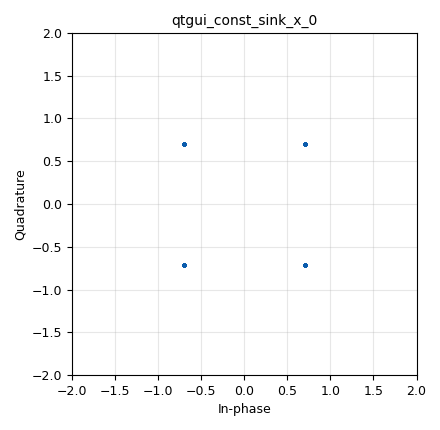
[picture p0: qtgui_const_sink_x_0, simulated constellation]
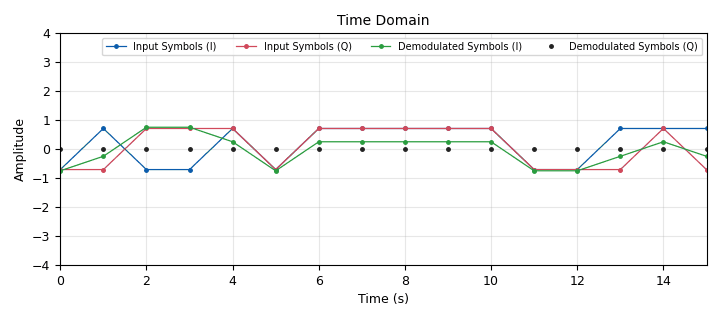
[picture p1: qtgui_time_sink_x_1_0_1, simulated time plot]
<?xml version='1.0' encoding='utf-8'?>
<?grc format='1' created='3.7.12'?>
<flow_graph>
<block>
<key>options</key>
<param><key>id</key><value>top_block</value></param>
<param><key>generate_options</key><value>qt_gui</value></param>
</block>
<block>
<key>variable_constellation</key>
<param><key>id</key><value>constel</value></param>
<param><key>const_points</key><value>digital.psk_2()[0]</value></param>
<param><key>type</key><value>qpsk</value></param>
<param><key>soft_dec_lut</key><value>'auto'</value></param>
<param><key>precision</key><value>8</value></param>
<param><key>sym_map</key><value>digital.psk_2()[1]</value></param>
</block>
<block>
<key>variable</key>
<param><key>id</key><value>corr_sequence</value></param>
<param><key>comment</key><value>Copy this.</value></param>
<param><key>value</key><value>((-0.7071070075035095+0.7071070075035095j), (0.7071070075035095+0.7071070075035095j), (0.7071070075035095-0.7071070075035095j), (0.7071070075035095+0.7071070075035095j), (-0.7071070075035095-0.7071070075035095j), (-0.7071070075035095-0.7071070075035095j), (0.7071070075035095+0.7071070075035095j), (-0.7071070075035095-0.7071070075035095j), (0.7071070075035095+0.7071070075035095j), (-0.7071070075035095-0.7071070075035095j), (0.7071070075035095+0.7071070075035095j), (0.7071070075035095+0.7071070075035095j), (0.7071070075035095+0.7071070075035095j), (-0.7071070075035095+0.7071070075035095j), (0.7071070075035095-0.7071070075035095j), (-0.7071070075035095-0.7071070075035095j))</value></param>
</block>
<block>
<key>variable</key>
<param><key>id</key><value>corr_sequence_nodiff</value></param>
<param><key>comment</key><value>Or this.</value></param>
<param><key>value</key><value>((-0.7071070075035095-0.7071070075035095j), (0.7071070075035095-0.7071070075035095j), (-0.7071070075035095+0.7071070075035095j), (-0.7071070075035095+0.7071070075035095j), (0.7071070075035095+0.7071070075035095j), (-0.7071070075035095-0.7071070075035095j), (0.7071070075035095+0.7071070075035095j), (0.7071070075035095+0.7071070075035095j), (0.7071070075035095+0.7071070075035095j), (0.7071070075035095+0.7071070075035095j), (0.7071070075035095+0.7071070075035095j), (-0.7071070075035095-0.7071070075035095j), (-0.7071070075035095-0.7071070075035095j), (0.7071070075035095-0.7071070075035095j), (0.7071070075035095+0.7071070075035095j), (0.7071070075035095-0.7071070075035095j))</value></param>
</block>
<block>
<key>variable</key>
<param><key>id</key><value>length</value></param>
<param><key>value</key><value>len(sync_word)*8</value></param>
</block>
<block>
<key>variable</key>
<param><key>id</key><value>same</value></param>
<param><key>value</key><value>corr_sequence == corr_sequence_nodiff</value></param>
</block>
<block>
<key>variable</key>
<param><key>id</key><value>samp_rate</value></param>
<param><key>value</key><value>32000</value></param>
</block>
<block>
<key>variable</key>
<param><key>id</key><value>sync_word</value></param>
<param><key>value</key><value>[0x1a, 0xcf, 0xfc, 0x1d]</value></param>
</block>
<block>
<key>variable_function_probe</key>
<param><key>id</key><value>variable_function_probe_0</value></param>
<param><key>block_id</key><value>symbols</value></param>
<param><key>function_name</key><value>level</value></param>
<param><key>value</key><value>0</value></param>
<param><key>poll_rate</key><value>0.25</value></param>
</block>
<block>
<key>variable_function_probe</key>
<param><key>id</key><value>variable_function_probe_0_0</value></param>
<param><key>block_id</key><value>dibits</value></param>
<param><key>function_name</key><value>level</value></param>
<param><key>value</key><value>0</value></param>
<param><key>poll_rate</key><value>0.25</value></param>
</block>
<block>
<key>variable_qtgui_entry</key>
<param><key>id</key><value>variable_qtgui_entry_0</value></param>
<param><key>value</key><value>variable_function_probe_0</value></param>
<param><key>label</key><value>Complex Symbols (Copy this)</value></param>
<param><key>type</key><value>int</value></param>
</block>
<block>
<key>variable_qtgui_entry</key>
<param><key>id</key><value>variable_qtgui_entry_0_0</value></param>
<param><key>value</key><value>variable_function_probe_0_0</value></param>
<param><key>label</key><value>Symbols</value></param>
<param><key>type</key><value>int</value></param>
</block>
<block>
<key>blocks_complex_to_arg</key>
<param><key>id</key><value>blocks_complex_to_arg_0</value></param>
</block>
<block>
<key>blocks_float_to_complex</key>
<param><key>id</key><value>blocks_float_to_complex_0</value></param>
</block>
<block>
<key>blocks_multiply_const_vxx</key>
<param><key>id</key><value>blocks_multiply_const_vxx_0</value></param>
<param><key>const</key><value>1./pi</value></param>
<param><key>type</key><value>float</value></param>
</block>
<block>
<key>blocks_repack_bits_bb</key>
<param><key>id</key><value>blocks_repack_bits_bb_0</value></param>
<param><key>k</key><value>8</value></param>
<param><key>l</key><value>1</value></param>
<param><key>endianness</key><value>gr.GR_MSB_FIRST</value></param>
</block>
<block>
<key>blocks_repack_bits_bb</key>
<param><key>id</key><value>blocks_repack_bits_bb_0_0</value></param>
<param><key>k</key><value>1</value></param>
<param><key>l</key><value>2</value></param>
<param><key>endianness</key><value>gr.GR_MSB_FIRST</value></param>
</block>
<block>
<key>blocks_stream_to_vector</key>
<param><key>id</key><value>blocks_stream_to_vector_0</value></param>
<param><key>type</key><value>complex</value></param>
<param><key>num_items</key><value>length/2</value></param>
</block>
<block>
<key>blocks_stream_to_vector</key>
<param><key>id</key><value>blocks_stream_to_vector_0_1</value></param>
<param><key>type</key><value>byte</value></param>
<param><key>num_items</key><value>length</value></param>
</block>
<block>
<key>blocks_throttle</key>
<param><key>id</key><value>blocks_throttle_1</value></param>
<param><key>_enabled</key><value>2</value></param>
<param><key>samples_per_second</key><value>samp_rate_rx</value></param>
<param><key>type</key><value>complex</value></param>
</block>
<block>
<key>blocks_vector_sink_x</key>
<param><key>id</key><value>blocks_vector_sink_x_0</value></param>
<param><key>type</key><value>complex</value></param>
<param><key>vlen</key><value>length/2</value></param>
</block>
<block>
<key>blocks_vector_sink_x</key>
<param><key>id</key><value>blocks_vector_sink_x_0_0</value></param>
<param><key>type</key><value>byte</value></param>
<param><key>vlen</key><value>length</value></param>
</block>
<block>
<key>blocks_vector_source_x</key>
<param><key>id</key><value>blocks_vector_source_x_1</value></param>
<param><key>type</key><value>byte</value></param>
<param><key>repeat</key><value>True</value></param>
<param><key>vector</key><value>sync_word</value></param>
</block>
<block>
<key>ccsds_diff_encoder</key>
<param><key>id</key><value>ccsds_diff_encoder_0</value></param>
<param><key>_enabled</key><value>2</value></param>
</block>
<block>
<key>blocks_probe_signal_vx</key>
<param><key>id</key><value>dibits</value></param>
<param><key>type</key><value>byte</value></param>
<param><key>vlen</key><value>length</value></param>
</block>
<block>
<key>digital_chunks_to_symbols_xx</key>
<param><key>id</key><value>digital_chunks_to_symbols_xx_0</value></param>
<param><key>dimension</key><value>1</value></param>
<param><key>in_type</key><value>byte</value></param>
<param><key>out_type</key><value>complex</value></param>
<param><key>symbol_table</key><value>constel.points()</value></param>
</block>
<block>
<key>import</key>
<param><key>id</key><value>import_pi</value></param>
<param><key>import</key><value>from math import pi</value></param>
</block>
<block>
<key>qtgui_const_sink_x</key>
<param><key>id</key><value>qtgui_const_sink_x_0</value></param>
<param><key>size</key><value>1024</value></param>
<param><key>type</key><value>complex</value></param>
</block>
<block>
<key>qtgui_time_sink_x</key>
<param><key>id</key><value>qtgui_time_sink_x_1_0</value></param>
<param><key>_enabled</key><value>0</value></param>
<param><key>grid</key><value>True</value></param>
<param><key>color1</key><value>"blue"</value></param>
<param><key>label1</key><value></value></param>
<param><key>marker1</key><value>0</value></param>
<param><key>color2</key><value>"red"</value></param>
<param><key>label2</key><value></value></param>
<param><key>size</key><value>length/2</value></param>
<param><key>srate</key><value>1</value></param>
<param><key>type</key><value>complex</value></param>
</block>
<block>
<key>qtgui_time_sink_x</key>
<param><key>id</key><value>qtgui_time_sink_x_1_0_0</value></param>
<param><key>autoscale</key><value>True</value></param>
<param><key>_enabled</key><value>0</value></param>
<param><key>grid</key><value>True</value></param>
<param><key>color1</key><value>"blue"</value></param>
<param><key>label1</key><value></value></param>
<param><key>marker1</key><value>0</value></param>
<param><key>size</key><value>length/2</value></param>
<param><key>srate</key><value>1</value></param>
<param><key>type</key><value>float</value></param>
</block>
<block>
<key>qtgui_time_sink_x</key>
<param><key>id</key><value>qtgui_time_sink_x_1_0_1</value></param>
<param><key>comment</key><value>Plot input and decoded symbols.</value></param>
<param><key>grid</key><value>True</value></param>
<param><key>color1</key><value>"blue"</value></param>
<param><key>label1</key><value>Input Symbols (I)</value></param>
<param><key>marker1</key><value>0</value></param>
<param><key>color2</key><value>"red"</value></param>
<param><key>label2</key><value>Input Symbols (Q)</value></param>
<param><key>marker2</key><value>0</value></param>
<param><key>color3</key><value>"green"</value></param>
<param><key>label3</key><value>Demodulated Symbols (I)</value></param>
<param><key>marker3</key><value>0</value></param>
<param><key>color4</key><value>"black"</value></param>
<param><key>label4</key><value>Demodulated Symbols (Q)</value></param>
<param><key>style4</key><value>0</value></param>
<param><key>name</key><value>"Time Domain"</value></param>
<param><key>nconnections</key><value>2</value></param>
<param><key>size</key><value>length / 2</value></param>
<param><key>srate</key><value>1</value></param>
<param><key>type</key><value>complex</value></param>
<param><key>ymax</key><value>4</value></param>
<param><key>ymin</key><value>-4</value></param>
</block>
<block>
<key>blocks_probe_signal_vx</key>
<param><key>id</key><value>symbols</value></param>
<param><key>type</key><value>complex</value></param>
<param><key>vlen</key><value>length/2</value></param>
</block>
<connection><source_block_id>blocks_complex_to_arg_0</source_block_id><sink_block_id>blocks_multiply_const_vxx_0</sink_block_id><source_key>0</source_key><sink_key>0</sink_key></connection>
<connection><source_block_id>blocks_complex_to_arg_0</source_block_id><sink_block_id>qtgui_time_sink_x_1_0_0</sink_block_id><source_key>0</source_key><sink_key>0</sink_key></connection>
<connection><source_block_id>blocks_float_to_complex_0</source_block_id><sink_block_id>qtgui_time_sink_x_1_0_1</sink_block_id><source_key>0</source_key><sink_key>1</sink_key></connection>
<connection><source_block_id>blocks_multiply_const_vxx_0</source_block_id><sink_block_id>blocks_float_to_complex_0</sink_block_id><source_key>0</source_key><sink_key>0</sink_key></connection>
<connection><source_block_id>blocks_repack_bits_bb_0</source_block_id><sink_block_id>ccsds_diff_encoder_0</sink_block_id><source_key>0</source_key><sink_key>0</sink_key></connection>
<connection><source_block_id>blocks_repack_bits_bb_0_0</source_block_id><sink_block_id>blocks_stream_to_vector_0_1</sink_block_id><source_key>0</source_key><sink_key>0</sink_key></connection>
<connection><source_block_id>blocks_repack_bits_bb_0_0</source_block_id><sink_block_id>digital_chunks_to_symbols_xx_0</sink_block_id><source_key>0</source_key><sink_key>0</sink_key></connection>
<connection><source_block_id>blocks_stream_to_vector_0</source_block_id><sink_block_id>blocks_vector_sink_x_0</sink_block_id><source_key>0</source_key><sink_key>0</sink_key></connection>
<connection><source_block_id>blocks_stream_to_vector_0</source_block_id><sink_block_id>symbols</sink_block_id><source_key>0</source_key><sink_key>0</sink_key></connection>
<connection><source_block_id>blocks_stream_to_vector_0_1</source_block_id><sink_block_id>blocks_vector_sink_x_0_0</sink_block_id><source_key>0</source_key><sink_key>0</sink_key></connection>
<connection><source_block_id>blocks_stream_to_vector_0_1</source_block_id><sink_block_id>dibits</sink_block_id><source_key>0</source_key><sink_key>0</sink_key></connection>
<connection><source_block_id>blocks_throttle_1</source_block_id><sink_block_id>blocks_complex_to_arg_0</sink_block_id><source_key>0</source_key><sink_key>0</sink_key></connection>
<connection><source_block_id>blocks_throttle_1</source_block_id><sink_block_id>blocks_stream_to_vector_0</sink_block_id><source_key>0</source_key><sink_key>0</sink_key></connection>
<connection><source_block_id>blocks_throttle_1</source_block_id><sink_block_id>qtgui_const_sink_x_0</sink_block_id><source_key>0</source_key><sink_key>0</sink_key></connection>
<connection><source_block_id>blocks_throttle_1</source_block_id><sink_block_id>qtgui_time_sink_x_1_0</sink_block_id><source_key>0</source_key><sink_key>0</sink_key></connection>
<connection><source_block_id>blocks_throttle_1</source_block_id><sink_block_id>qtgui_time_sink_x_1_0_1</sink_block_id><source_key>0</source_key><sink_key>0</sink_key></connection>
<connection><source_block_id>blocks_vector_source_x_1</source_block_id><sink_block_id>blocks_repack_bits_bb_0</sink_block_id><source_key>0</source_key><sink_key>0</sink_key></connection>
<connection><source_block_id>ccsds_diff_encoder_0</source_block_id><sink_block_id>blocks_repack_bits_bb_0_0</sink_block_id><source_key>0</source_key><sink_key>0</sink_key></connection>
<connection><source_block_id>digital_chunks_to_symbols_xx_0</source_block_id><sink_block_id>blocks_throttle_1</sink_block_id><source_key>0</source_key><sink_key>0</sink_key></connection>
</flow_graph>
